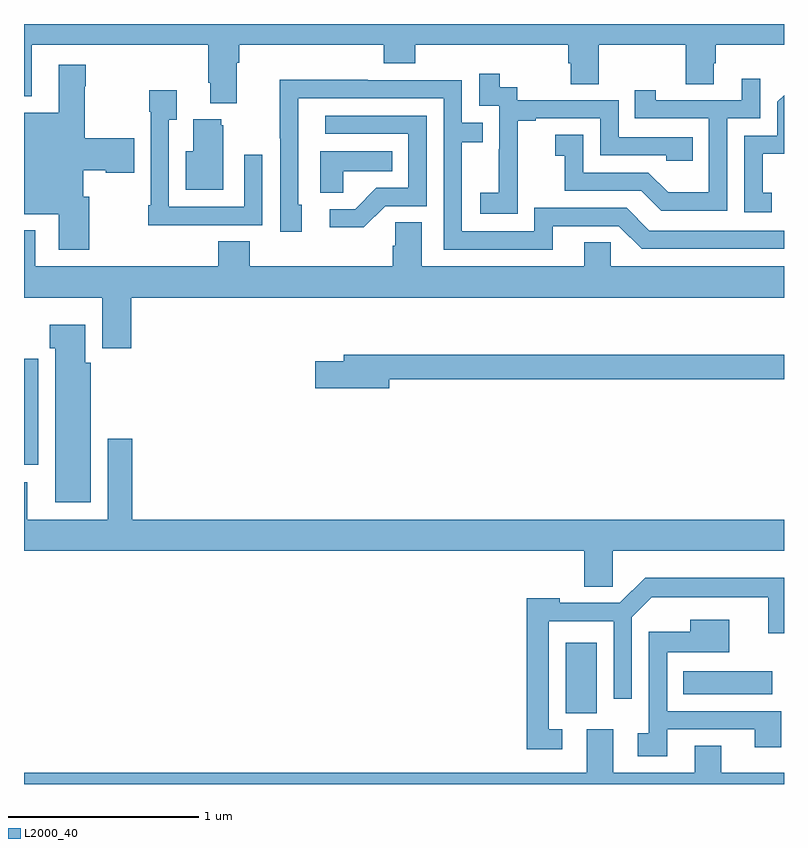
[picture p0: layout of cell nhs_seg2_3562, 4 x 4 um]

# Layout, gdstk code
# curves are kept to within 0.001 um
import gdstk
lib = gdstk.Library(unit=1e-6, precision=1e-09)
def R(c, l, rs):  # rectangles x0, y0, x1, y1
    for r in rs: c.add(gdstk.rectangle(r[:2], r[2:], *l))
def P(c, l, *ps):  # polygons
    for p in ps: c.add(gdstk.Polygon(p, *l))
L2000_40 = (2000, 40)

nhs_seg2_3562 = lib.new_cell('nhs_seg2_3562')
R(nhs_seg2_3562, L2000_40, [(301.85,588.172,302.014,588.544), (302.47,588.272,302.938,588.394), (299,589.479,299.076,590.037)])
P(nhs_seg2_3562, L2000_40, [(300.121,591.596),(300.134,591.596),(300.134,591.692),(300.893,591.692),(300.893,591.593),(301.058,591.593),(301.058,591.692),(301.865,591.692),(301.865,591.594),(301.877,591.594),(301.877,591.484),(302.025,591.484),(302.025,591.692),(302.482,591.692),(302.482,591.484),(302.629,591.484),(302.629,591.594),(302.642,591.594),(302.642,591.692),(303,591.692),(303,591.8),(299,591.8),(299,591.419),(299.041,591.419),(299.041,591.692),(299.969,591.692),(299.969,591.49),(299.981,591.49),(299.981,591.383),(300.121,591.383)],
  [(299.343,590.892),(299.311,590.892),(299.311,591.029),(299.431,591.029),(299.431,591.017),(299.581,591.017),(299.581,591.2),(299.319,591.2),(299.319,591.473),(299.324,591.473),(299.324,591.586),(299.183,591.586),(299.183,591.334),(299,591.334),(299,590.799),(299.183,590.799),(299.183,590.613),(299.343,590.613)],
  [(301.599,591.007),(301.598,591.007),(301.598,591.291),(301.693,591.291),(301.693,591.303),(302.034,591.303),(302.034,591.108),(302.379,591.108),(302.379,591.081),(302.519,591.081),(302.519,591.204),(302.13,591.204),(302.13,591.399),(301.596,591.399),(301.596,591.468),(301.504,591.468),(301.504,591.538),(301.395,591.538),(301.395,591.369),(301.5,591.369),(301.5,591.14),(301.499,591.14),(301.499,590.911),(301.401,590.911),(301.401,590.801),(301.599,590.801)],
  [(302.7,591.303),(302.874,591.303),(302.874,591.511),(302.777,591.511),(302.777,591.399),(302.326,591.399),(302.326,591.451),(302.215,591.451),(302.215,591.303),(302.604,591.303),(302.604,590.914),(302.39,590.914),(302.286,591.018),(301.944,591.018),(301.944,591.217),(301.797,591.217),(301.797,591.107),(301.846,591.107),(301.846,590.922),(302.249,590.922),(302.354,590.817),(302.7,590.817)],
  [(301.783,590.736),(302.13,590.736),(302.25,590.616),(303,590.616),(303,590.712),(302.292,590.712),(302.172,590.832),(301.686,590.832),(301.686,590.709),(301.305,590.709),(301.305,591.178),(301.415,591.178),(301.415,591.279),(301.305,591.279),(301.305,591.504),(300.809,591.504),(300.809,591.506),(300.346,591.506),(300.346,591.199),(300.348,591.199),(300.348,590.706),(300.463,590.706),(300.463,590.85),(300.444,590.85),(300.444,591.408),(301.209,591.408),(301.209,590.613),(301.783,590.613)],
  [(299.939,590.742),(300.255,590.742),(300.255,591.112),(300.159,591.112),(300.159,590.838),(299.763,590.838),(299.763,591.295),(299.803,591.295),(299.803,591.451),(299.66,591.451),(299.66,591.338),(299.667,591.338),(299.667,590.845),(299.655,590.845),(299.655,590.741),(299.939,590.741)],
  [(302.936,590.913),(302.887,590.913),(302.887,591.117),(303,591.117),(303,591.426),(302.964,591.39),(302.964,591.213),(302.79,591.213),(302.79,590.808),(302.936,590.808)],
  [(300.9,590.841),(301.119,590.841),(301.119,591.318),(300.585,591.318),(300.585,591.222),(301.023,591.222),(301.023,590.937),(300.854,590.937),(300.743,590.826),(300.609,590.826),(300.609,590.729),(300.787,590.729)],
  [(300.049,591.267),(300.038,591.267),(300.038,591.298),(299.891,591.298),(299.891,591.13),(299.852,591.13),(299.852,590.927),(300.049,590.927)],
  [(300.681,591.026),(300.938,591.026),(300.938,591.13),(300.56,591.13),(300.56,590.911),(300.681,590.911)],
  [(299.564,590.36),(303,590.36),(303,590.524),(302.088,590.524),(302.088,590.651),(301.949,590.651),(301.949,590.524),(301.093,590.524),(301.093,590.756),(300.954,590.756),(300.954,590.633),(300.941,590.633),(300.941,590.524),(300.188,590.524),(300.188,590.657),(300.023,590.657),(300.023,590.524),(299.059,590.524),(299.059,590.714),(299,590.714),(299,590.36),(299.411,590.36),(299.411,590.094),(299.564,590.094)],
  [(299.35,590.016),(299.323,590.016),(299.323,590.218),(299.135,590.218),(299.135,590.093),(299.165,590.093),(299.165,589.283),(299.35,589.283)],
  [(300.922,589.93),(303,589.93),(303,590.059),(300.683,590.059),(300.683,590.025),(300.534,590.025),(300.534,589.883),(300.922,589.883)],
  [(302.099,589.028),(303,589.028),(303,589.192),(299.57,589.192),(299.57,589.618),(299.441,589.618),(299.441,589.192),(299.017,589.192),(299.017,589.387),(299,589.387),(299,589.028),(301.949,589.028),(301.949,588.838),(302.099,588.838)],
  [(301.834,588.087),(301.761,588.087),(301.761,588.657),(302.103,588.657),(302.103,588.249),(302.199,588.249),(302.199,588.678),(302.304,588.783),(302.918,588.782),(302.918,588.593),(303,588.593),(303,588.886),(302.269,588.886),(302.136,588.753),(301.821,588.753),(301.821,588.778),(301.645,588.778),(301.645,587.982),(301.834,587.982)],
  [(302.386,588.087),(302.846,588.087),(302.846,587.994),(302.986,587.994),(302.986,588.183),(302.385,588.183),(302.385,588.494),(302.713,588.494),(302.713,588.664),(302.507,588.664),(302.507,588.601),(302.289,588.601),(302.289,588.066),(302.229,588.066),(302.229,587.946),(302.386,587.946)],
  [(299,587.8),(303,587.8),(303,587.86),(302.671,587.86),(302.671,588.002),(302.531,588.002),(302.531,587.86),(302.101,587.86),(302.101,588.087),(301.961,588.087),(301.961,587.86),(299,587.86)])

lib.write_gds('nhs_seg2_3562.gds')
